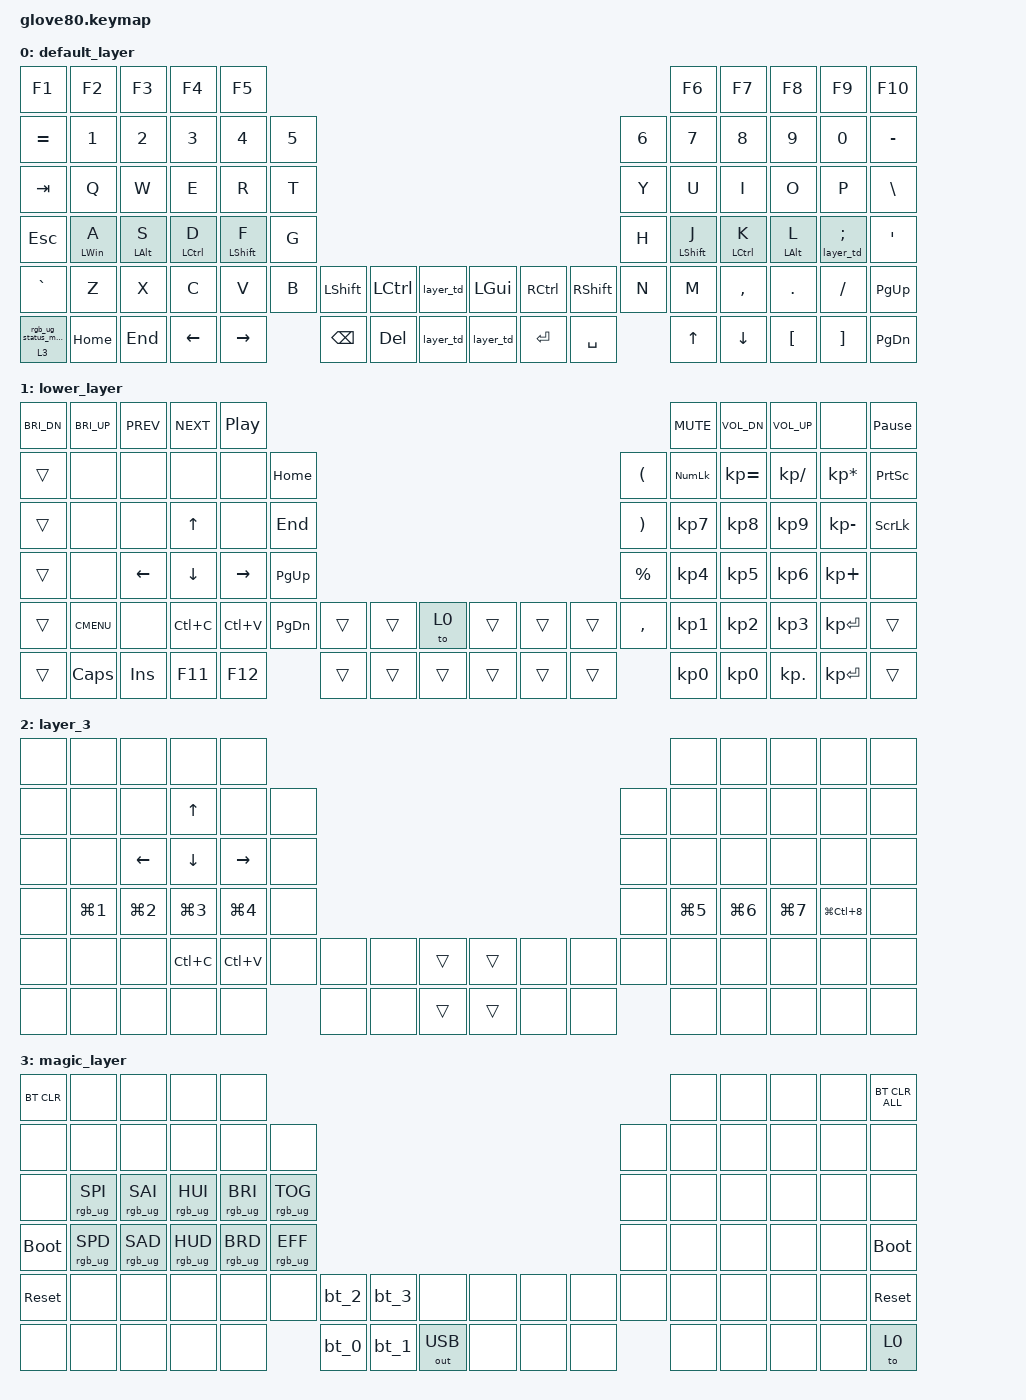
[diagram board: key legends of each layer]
/*
 * Copyright (c) 2020 The ZMK Contributors
 *
 * SPDX-License-Identifier: MIT
 */

#include <behaviors.dtsi>
#include <dt-bindings/zmk/bt.h>
#include <dt-bindings/zmk/keys.h>
#include <dt-bindings/zmk/outputs.h>
#include <dt-bindings/zmk/rgb.h>

#define HYPER LC(LS(LG(LALT)))

// layers

#define DEFAULT 0
#define LOWER 1
#define MAGIC 2
#define FACTORY_TEST 3

/ {
    behaviors {
        // For the "layer" key, it'd nice to be able to use it as either a shift or a toggle.
        // Configure it as a tap dance, so the first tap (or hold) is a &mo and the second tap is a &to

        layer_td: tap_dance_0 {
            compatible = "zmk,behavior-tap-dance";
            label = "LAYER_TAP_DANCE";
            #binding-cells = <0>;
            tapping-term-ms = <200>;
            bindings = <&mo 2>, <&to 2>;
        };

        magic: magic_hold_tap {
            compatible = "zmk,behavior-hold-tap";
            label = "MAGIC_HOLD_TAP";
            #binding-cells = <2>;
            flavor = "tap-preferred";
            tapping-term-ms = <200>;
            bindings = <&mo>, <&rgb_ug_status_macro>;
        };

        hml: hml {
            compatible = "zmk,behavior-hold-tap";
            label = "HML";
            bindings = <&kp>, <&kp>;

            #binding-cells = <2>;
            tapping-term-ms = <350>;
            quick-tap-ms = <175>;
            require-prior-idle-ms = <150>;
            flavor = "balanced";
            hold-trigger-key-positions = <55 72 56 73 74 57 58 5 6 7 8 9 16 17 18 19 20 21 28 29 30 31 32 33 40 41 42 43 44 45 58 59 60 61 62 63 75 76 77 78 79 52 53 54 69 70 71>;
            hold-trigger-on-release;
        };

        hmr: hmr {
            compatible = "zmk,behavior-hold-tap";
            label = "HMR";
            bindings = <&kp>, <&kp>;

            #binding-cells = <2>;
            tapping-term-ms = <350>;
            quick-tap-ms = <175>;
            require-prior-idle-ms = <150>;
            flavor = "balanced";
            hold-trigger-key-positions = <0 1 2 3 4 10 11 12 13 14 15 22 23 24 25 26 27 34 35 36 37 38 39 46 47 48 49 50 51 52 53 54 64 65 66 67 68 69 70 71 55 56 57 73 74 72>;
            hold-trigger-on-release;
        };

        hmr2: hmr2 {
            compatible = "zmk,behavior-hold-tap";
            label = "HMR2";
            bindings = <&layer_td>, <&kp>;

            #binding-cells = <2>;
            quick-tap-ms = <175>;
            require-prior-idle-ms = <100>;
            flavor = "balanced";
            tapping-term-ms = <280>;
            hold-trigger-key-positions = <0 1 2 3 4 10 11 12 13 14 15 22 23 24 25 26 27 34 35 36 37 38 39 46 47 48 49 50 51 52 53 54 64 65 66 67 68 69 70 71>;
            hold-trigger-on-release;
        };
    };

    macros {
        rgb_ug_status_macro: rgb_ug_status_macro_0 {
            label = "RGB_UG_STATUS";
            compatible = "zmk,behavior-macro";
            #binding-cells = <0>;
            bindings = <&rgb_ug RGB_STATUS>;
        };

        bt_0: bt_profile_macro_0 {
            label = "BT_0";
            compatible = "zmk,behavior-macro";
            #binding-cells = <0>;
            bindings = <&out OUT_BLE &bt BT_SEL 0>;
        };

        bt_1: bt_profile_macro_1 {
            label = "BT_1";
            compatible = "zmk,behavior-macro";
            #binding-cells = <0>;
            bindings = <&out OUT_BLE &bt BT_SEL 1>;
        };

        bt_2: bt_profile_macro_2 {
            label = "BT_2";
            compatible = "zmk,behavior-macro";
            #binding-cells = <0>;
            bindings = <&out OUT_BLE &bt BT_SEL 2>;
        };

        bt_3: bt_profile_macro_3 {
            label = "BT_3";
            compatible = "zmk,behavior-macro";
            #binding-cells = <0>;
            bindings = <&out OUT_BLE &bt BT_SEL 3>;
        };
    };

    keymap {
        compatible = "zmk,keymap";

        default_layer {
            // ---------------------------------------------------------------------------------------------------------------------------------
            // |  F1   |  F2 |  F3 |  F4  |  F5  |                                                               |  F6   |  F7   |  F8  |   F9  |  F10 |
            // |  =    |  1  |  2  |  3   |  4   |  5   |                                                 |  6   |   7   |   8   |  9   |   0   |   -  |
            // |  TAB  |  Q  |  W  |  E   |  R   |  T   |                                                 |  Y   |   U   |   I   |  O   |   P   |   \  |
            // |  ESC  |  A  |  S  |  D   |  F   |  G   |                                                 |  H   |   J   |   K   |  L   |   ;   |   '  |
            // |   `   |  Z  |  X  |  C   |  V   |  B   | LSHFT | LCTRL | LOWER | | LGUI  | RCTRL | RSHFT |  N   |   M   |   ,   |  .   |   /   | PGUP |
            // | MAGIC | HOME| END | LEFT | RIGHT|      | BSPC  | DEL   | LALT  | | RALT  | RET   | SPACE |      |  UP   | DOWN  |  [   |   ]   | PGDN |

            bindings = <
&kp F1      &kp F2           &kp F3           &kp F4        &kp F5                                                                                               &kp F6             &kp F7        &kp F8           &kp F9        &kp F10
&kp EQUAL   &kp N1           &kp N2           &kp N3        &kp N4             &kp N5                                                                    &kp N6  &kp N7             &kp N8        &kp N9           &kp N0        &kp MINUS
&kp TAB     &kp Q            &kp W            &kp E         &kp R              &kp T                                                                     &kp Y   &kp U              &kp I         &kp O            &kp P         &kp BSLH
&kp ESC     &hml LEFT_WIN A  &hml LEFT_ALT S  &hml LCTRL D  &hml LEFT_SHIFT F  &kp G                                                                     &kp H   &hmr LEFT_SHIFT J  &hmr LCTRL K  &hmr LEFT_ALT L  &hmr2 0 SEMI  &kp SQT
&kp GRAVE   &kp Z            &kp X            &kp C         &kp V              &kp B   &kp LSHFT  &kp LCTRL  &layer_td  &kp LGUI   &kp RCTRL  &kp RSHFT  &kp N   &kp M              &kp COMMA     &kp DOT          &kp FSLH      &kp PG_UP
&magic 3 0  &kp HOME         &kp END          &kp LEFT      &kp RIGHT                  &kp BSPC   &kp DEL    &layer_td  &layer_td  &kp RET    &kp SPACE          &kp UP             &kp DOWN      &kp LBKT         &kp RBKT      &kp PG_DN
            >;
        };

        lower_layer {
            bindings = <
&kp C_BRI_DN  &kp C_BRI_UP  &kp C_PREV  &kp C_NEXT  &kp C_PP                                                                         &kp C_MUTE  &kp C_VOL_DN  &kp C_VOL_UP   &none            &kp PAUSE_BREAK
&trans        &none         &none       &none       &none      &kp HOME                                                   &kp LPAR   &kp KP_NUM  &kp KP_EQUAL  &kp KP_DIVIDE  &kp KP_MULTIPLY  &kp PSCRN
&trans        &none         &none       &kp UP      &none      &kp END                                                    &kp RPAR   &kp KP_N7   &kp KP_N8     &kp KP_N9      &kp KP_MINUS     &kp SLCK
&trans        &none         &kp LEFT    &kp DOWN    &kp RIGHT  &kp PG_UP                                                  &kp PRCNT  &kp KP_N4   &kp KP_N5     &kp KP_N6      &kp KP_PLUS      &none
&trans        &kp K_CMENU   &none       &kp LC(C)   &kp LC(V)  &kp PG_DN  &trans  &trans  &to 0   &trans  &trans  &trans  &kp COMMA  &kp KP_N1   &kp KP_N2     &kp KP_N3      &kp KP_ENTER     &trans
&trans        &kp CAPS      &kp INS     &kp F11     &kp F12               &trans  &trans  &trans  &trans  &trans  &trans             &kp KP_N0   &kp KP_N0     &kp KP_DOT     &kp KP_ENTER     &trans
            >;
        };

        layer_3 {
            bindings = <
&none  &none             &none             &none             &none                                                                       &none             &none             &none             &none                 &none
&none  &none             &none             &kp UP_ARROW      &none             &none                                              &none  &none             &none             &none             &none                 &none
&none  &none             &kp LEFT_ARROW    &kp DOWN_ARROW    &kp RIGHT_ARROW   &none                                              &none  &none             &none             &none             &none                 &none
&none  &kp LG(NUMBER_1)  &kp LG(NUMBER_2)  &kp LG(NUMBER_3)  &kp LG(NUMBER_4)  &none                                              &none  &kp LG(NUMBER_5)  &kp LG(NUMBER_6)  &kp LG(NUMBER_7)  &kp LG(LC(NUMBER_8))  &none
&none  &none             &none             &kp LC(C)         &kp LC(V)         &none  &none  &none  &trans  &trans  &none  &none  &none  &none             &none             &none             &none                 &none
&none  &none             &none             &none             &none                    &none  &none  &trans  &trans  &none  &none         &none             &none             &none             &none                 &none
            >;
        };

        magic_layer {
            bindings = <
&bt BT_CLR   &none            &none            &none            &none                                                                                     &none  &none  &none  &none  &bt BT_CLR_ALL
&none        &none            &none            &none            &none            &none                                                             &none  &none  &none  &none  &none  &none
&none        &rgb_ug RGB_SPI  &rgb_ug RGB_SAI  &rgb_ug RGB_HUI  &rgb_ug RGB_BRI  &rgb_ug RGB_TOG                                                   &none  &none  &none  &none  &none  &none
&bootloader  &rgb_ug RGB_SPD  &rgb_ug RGB_SAD  &rgb_ug RGB_HUD  &rgb_ug RGB_BRD  &rgb_ug RGB_EFF                                                   &none  &none  &none  &none  &none  &bootloader
&sys_reset   &none            &none            &none            &none            &none            &bt_2  &bt_3  &none         &none  &none  &none  &none  &none  &none  &none  &none  &sys_reset
&none        &none            &none            &none            &none                             &bt_0  &bt_1  &out OUT_USB  &none  &none  &none         &none  &none  &none  &none  &to 0
            >;
        };
    };
};
